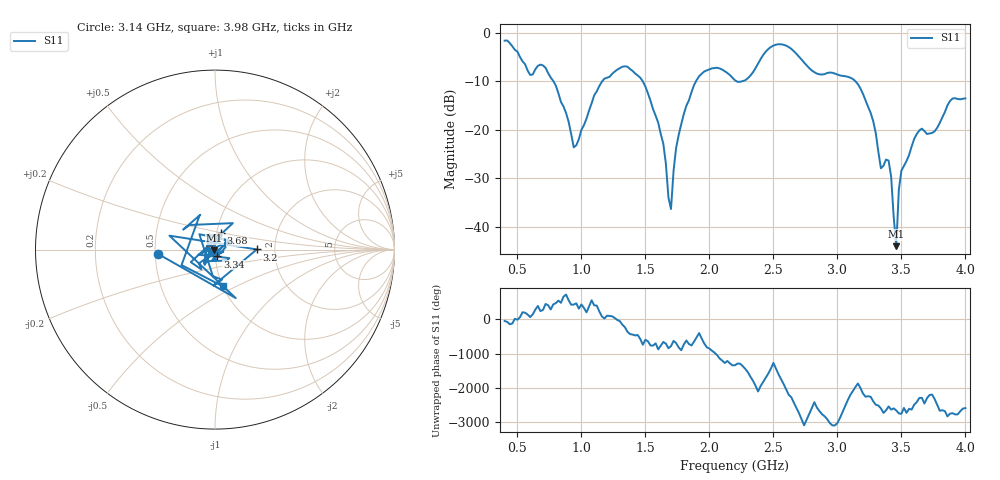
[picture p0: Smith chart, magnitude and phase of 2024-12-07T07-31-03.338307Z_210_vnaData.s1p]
!Created with skrf (http://scikit-rf.org).
# Hz S RI R 50.0
!freq ReS11 ImS11
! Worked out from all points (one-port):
!   181 points, 400 MHz to 4 GHz, reference 50 ohm
!   lowest |S11| = -44.0 dB at 3.46 GHz (marker M1), VSWR 1.01, Z = 49.6 - j0.468 ohm
!   |S11| at or under -10 dB: 780.7 MHz to 1.164 GHz (383.3 MHz wide, 39.4 % of centre); 1.478 GHz to 1.896 GHz (417.8 MHz wide, 24.8 % of centre); 3.14 GHz to end of sweep (the widest 3 of 4)
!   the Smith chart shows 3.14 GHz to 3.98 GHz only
!   S11 on the Smith chart (normalised r, x): 3.14 GHz: 0.52, -0.03; 3.2 GHz: 1.61, +0.00; 3.34 GHz: 1.02, -0.08; 3.68 GHz: 1.05, +0.19; 3.98 GHz: 1.00, -0.42
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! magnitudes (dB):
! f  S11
! 400 MHz  -1.7
! 600 MHz  -8.7
! 720 MHz  -7.3
! 860 MHz  -15.2
! 940 MHz  -23.6
! 1.14 GHz  -11.0
! 1.3 GHz  -7.3
! 1.52 GHz  -12.5
! 1.64 GHz  -22.9
! 1.7 GHz  -36.3
! 1.76 GHz  -21.1
! 1.92 GHz  -9.0
! 2.2 GHz  -9.8
! 2.5 GHz  -2.7
! 2.66 GHz  -3.9
! 3.1 GHz  -9.3
! 3.14 GHz  -10.0
! 3.2 GHz  -12.7
! 3.28 GHz  -18.3
! 3.34 GHz  -28.0
! 3.4 GHz  -26.4
! 3.46 GHz  -44.0
! 3.48 GHz  -32.4
! 3.5 GHz  -28.4
! 3.56 GHz  -25.2
! 3.68 GHz  -20.3
! 3.98 GHz  -13.6
! 4 GHz  -13.6
